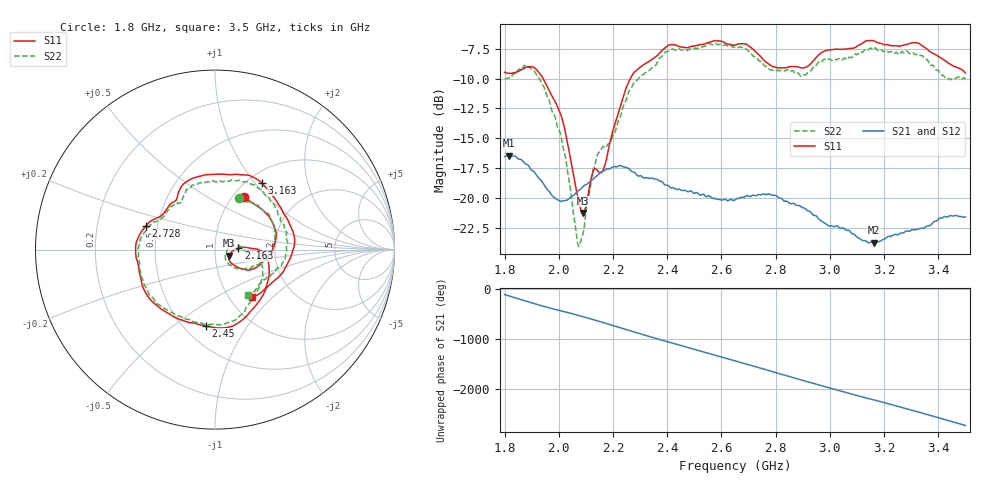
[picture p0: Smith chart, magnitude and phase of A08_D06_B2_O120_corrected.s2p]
! Created with skrf 1.9.0 (http://scikit-rf.org).
# Hz S RI R 50.0
!freq ReS11 ImS11 ReS21 ImS21 ReS12 ImS12 ReS22 ImS22
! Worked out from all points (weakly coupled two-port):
!   1601 points, 1.8 GHz to 3.5 GHz, reference 50 ohm
!   highest |S21| = -16.46 dB at 1.815 GHz (marker M1); lowest = -23.8 dB at 3.163 GHz (marker M2)
!   lowest |S11| = -21.3 dB at 2.089 GHz (marker M3), VSWR 1.19, Z = 58.5 - j3.91 ohm
!   |S11| at or under -10 dB: 1.942 GHz to 2.264 GHz (321.8 MHz wide, 15.3 % of centre)
!   |S22| runs from -24.1 to -7.0 dB; largest |S21 - S12| = 0.0025
!   S11 on the Smith chart (normalised r, x): 1.8 GHz: 1.13, +0.75; 2.163 GHz: 1.30, +0.02; 2.45 GHz: 0.63, -0.66; 2.728 GHz: 0.43, +0.13; 3.163 GHz: 1.16, +1.09; 3.5 GHz: 1.27, -0.75
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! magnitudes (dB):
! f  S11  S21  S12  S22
! 1.8 GHz  -9.5  -16.5  -16.6  -10.0
! 1.815 GHz  -9.6  -16.5  -16.5  -9.9
! 1.881 GHz  -9.0  -17.2  -17.2  -9.1
! 1.942 GHz  -10.0  -18.8  -18.8  -10.6
! 2.013 GHz  -13.4  -20.3  -20.3  -15.4
! 2.068 GHz  -19.7  -19.5  -19.5  -23.5
! 2.084 GHz  -21.1  -19.2  -19.2  -23.4
! 2.089 GHz  -21.3  -19.1  -19.1  -23.0
! 2.128 GHz  -17.7  -18.4  -18.4  -17.5
! 2.163 GHz  -17.7  -17.8  -17.7  -15.7
! 2.198 GHz  -14.4  -17.4  -17.4  -14.9
! 2.26 GHz  -10.2  -17.6  -17.6  -11.0
! 2.367 GHz  -8.0  -18.5  -18.5  -8.4
! 2.45 GHz  -7.4  -19.3  -19.3  -7.6
! 2.65 GHz  -7.2  -20.2  -20.1  -7.4
! 2.728 GHz  -7.8  -19.8  -19.8  -8.2
! 2.805 GHz  -9.1  -19.9  -19.9  -9.3
! 2.934 GHz  -8.6  -21.3  -21.3  -9.2
! 3.163 GHz  -6.8  -23.8  -23.7  -7.5
! 3.217 GHz  -7.2  -23.2  -23.2  -7.8
! 3.325 GHz  -7.0  -22.6  -22.6  -8.0
! 3.5 GHz  -9.5  -21.6  -21.6  -10.1
